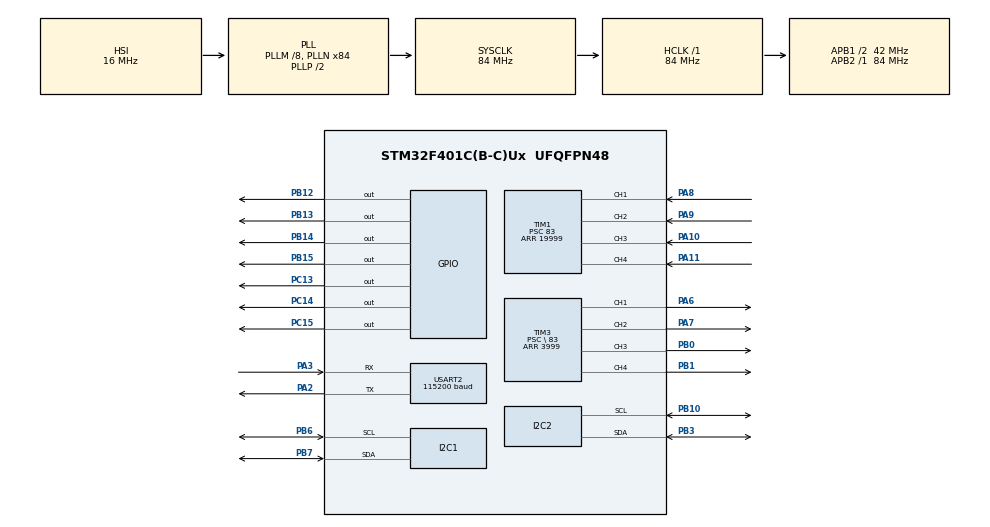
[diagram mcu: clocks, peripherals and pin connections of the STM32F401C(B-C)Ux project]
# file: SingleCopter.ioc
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I2C1.I2C_Mode=I2C_Fast
I2C2.I2C_Mode=I2C_Fast
Mcu.Family=STM32F4
Mcu.Name=STM32F401C(B-C)Ux
Mcu.Package=UFQFPN48
NVIC.PriorityGroup=NVIC_PRIORITYGROUP_4
NVIC.TIM1_CC_IRQn=true\:0\:0\:false\:false\:true\:true\:true\:true
NVIC.USART2_IRQn=true\:0\:0\:false\:false\:true\:true\:true\:true
PA10.Signal=S_TIM1_CH3
PA11.Signal=S_TIM1_CH4
PA13.Mode=Serial_Wire
PA13.Signal=SYS_JTMS-SWDIO
PA14.Mode=Serial_Wire
PA14.Signal=SYS_JTCK-SWCLK
PA2.Mode=Asynchronous
PA2.Signal=USART2_TX
PA3.Mode=Asynchronous
PA3.Signal=USART2_RX
PA6.Signal=S_TIM3_CH1
PA7.Signal=S_TIM3_CH2
PA8.Signal=S_TIM1_CH1
PA9.Signal=S_TIM1_CH2
PB0.Signal=S_TIM3_CH3
PB1.Signal=S_TIM3_CH4
PB10.Mode=I2C
PB10.Signal=I2C2_SCL
PB12.Signal=GPIO_Output
PB13.Signal=GPIO_Output
PB14.Signal=GPIO_Output
PB15.Signal=GPIO_Output
PB3.Mode=I2C
PB3.Signal=I2C2_SDA
PB6.Mode=I2C
PB6.Signal=I2C1_SCL
PB7.Mode=I2C
PB7.Signal=I2C1_SDA
PC13-ANTI_TAMP.Signal=GPIO_Output
PC14-OSC32_IN.Signal=GPIO_Output
PC15-OSC32_OUT.Signal=GPIO_Output
ProjectManager.HeapSize=0x200
ProjectManager.StackSize=0x400
ProjectManager.TargetToolchain=STM32CubeIDE
RCC.48MHZClocksFreq_Value=42000000
RCC.AHBFreq_Value=84000000
RCC.APB1CLKDivider=RCC_HCLK_DIV2
RCC.APB1Freq_Value=42000000
RCC.APB1TimFreq_Value=84000000
RCC.APB2Freq_Value=84000000
RCC.APB2TimFreq_Value=84000000
RCC.CortexFreq_Value=84000000
RCC.HCLKFreq_Value=84000000
RCC.HSE_VALUE=25000000
RCC.HSI_VALUE=16000000
RCC.LSE_VALUE=32768
RCC.PLLM=8
RCC.PLLN=84
RCC.SYSCLKFreq_VALUE=84000000
RCC.SYSCLKSource=RCC_SYSCLKSOURCE_PLLCLK
RCC.VCOOutputFreq_Value=168000000
SH.S_TIM1_CH1.0=TIM1_CH1,Input_Capture1_from_TI1
SH.S_TIM1_CH2.0=TIM1_CH2,Input_Capture2_from_TI2
SH.S_TIM1_CH3.0=TIM1_CH3,Input_Capture3_from_TI3
SH.S_TIM1_CH4.0=TIM1_CH4,Input_Capture4_from_TI4
SH.S_TIM3_CH1.0=TIM3_CH1,PWM Generation1 CH1
SH.S_TIM3_CH2.0=TIM3_CH2,PWM Generation2 CH2
SH.S_TIM3_CH3.0=TIM3_CH3,PWM Generation3 CH3
SH.S_TIM3_CH4.0=TIM3_CH4,PWM Generation4 CH4
TIM1.AutoReloadPreload=TIM_AUTORELOAD_PRELOAD_ENABLE
TIM1.Channel-Input_Capture1_from_TI1=TIM_CHANNEL_1
TIM1.Channel-Input_Capture2_from_TI2=TIM_CHANNEL_2
TIM1.Channel-Input_Capture3_from_TI3=TIM_CHANNEL_3
TIM1.Channel-Input_Capture4_from_TI4=TIM_CHANNEL_4
TIM1.ICFilter_CH1=0
TIM1.ICFilter_CH2=0
TIM1.ICFilter_CH3=1
TIM1.ICFilter_CH4=1
TIM1.ICPolarity_CH1=TIM_INPUTCHANNELPOLARITY_BOTHEDGE
TIM1.ICPolarity_CH2=TIM_INPUTCHANNELPOLARITY_BOTHEDGE
TIM1.ICPolarity_CH3=TIM_INPUTCHANNELPOLARITY_BOTHEDGE
TIM1.ICPolarity_CH4=TIM_INPUTCHANNELPOLARITY_BOTHEDGE
TIM1.Period=19999
TIM1.Prescaler=83
TIM3.AutoReloadPreload=TIM_AUTORELOAD_PRELOAD_ENABLE
TIM3.Channel-PWM\ Generation1\ CH1=TIM_CHANNEL_1
TIM3.Channel-PWM\ Generation2\ CH2=TIM_CHANNEL_2
TIM3.Channel-PWM\ Generation3\ CH3=TIM_CHANNEL_3
TIM3.Channel-PWM\ Generation4\ CH4=TIM_CHANNEL_4
TIM3.Period=3999 
TIM3.Prescaler=\ 83
USART2.BaudRate=115200
USART2.VirtualMode=VM_ASYNC
VP_TIM1_VS_ClockSourceINT.Mode=Internal
VP_TIM3_VS_ClockSourceINT.Mode=Internal
board=custom

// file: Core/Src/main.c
/* USER CODE BEGIN Header */
/**
  ******************************************************************************
  * @file           : main.c
  * @brief          : Main program body
  ******************************************************************************
  * @attention
  *
  * Copyright (c) 2024 STMicroelectronics.
  * All rights reserved.
  *
  * This software is licensed under terms that can be found in the LICENSE file
  * in the root directory of this software component.
  * If no LICENSE file comes with this software, it is provided AS-IS.
  *
  ******************************************************************************
  */
/* USER CODE END Header */
#include "main.h"

/* USER CODE BEGIN PTD */
#define sec2milliseconds(x) (x)*1000
/* USER CODE END PTD */

/* USER CODE BEGIN PD */

#define LSB_Sensitivity 131.0f // 65.5f	// Gyro degrees conversions
#define ALPHA 1.0  				// Gyro low pass filter (1.0 no filter, raw data)
#define GYRO_SING -1.0
// SAMPLE_TIME_S definido en PID/PID.h (compartido con usart.c)
/* Controller limits (PID_LIM_*) definidos en PID/PID.h, compartidos con usart.c */

#define MOTOR_TURN_OFF 1000
#define MOTOR_MAX_SPEED 2000
#define MOTOR_MIN_SPEED 1100

/* USER CODE END PD */

/* USER CODE BEGIN PM */
#define RADIO_MIDDLE_FREQ 1500.0f
#define RADIO_DEAD_BAND 5.0f

#define ARM_HOLD_MS         1000   // ms hay que sostener el gesto para armar/disarmar
#define ARM_THROTTLE_MAX    1050   // throttle abajo de esto cuenta como "low"
#define ARM_YAW_LEFT_MAX    1100   // yaw abajo de esto cuenta como "izquierda full"
#define ARM_YAW_RIGHT_MIN   1900   // yaw arriba de esto cuenta como "derecha full"

#define MAP(input, in_min, in_max, out_min, out_max) \
    (((input) - (in_min)) * ((out_max) - (out_min)) / ((in_max) - (in_min)) + (out_min))

#define M_PI 3.14159265358979323846
#define deg2rad(degrees) ((degrees) * (float)(M_PI / 180.0))
#define rad2deg(radians) ((radians) * (float)(180.0 / M_PI))

/* Protocolo UART (TRANSMITED_BYTES) definido en usart/usart.h
 * y compartido entre main.c y usart.c. */

/* USER CODE END PM */

I2C_HandleTypeDef hi2c1;
I2C_HandleTypeDef hi2c2;

TIM_HandleTypeDef htim1;
TIM_HandleTypeDef htim3;

UART_HandleTypeDef huart2;

/* USER CODE BEGIN PV */

uint8_t rx_buffer[TRANSMITED_BYTES];
float received_values[10]; // To store the result
int pid_update_ready=0;

extern float q0, q1, q2, q3;
extern float pitch, roll, yaw;
extern short gyro[3];
extern float gravity[3];
float gx, gy, gz;
float gx_angle, gy_angle, gz_angle;
float gyro_roll, gyro_pitch, gyro_yaw;
uint32_t loop_timer;
float yaw_offset, roll_offset, pitch_offset;
float yaw_w_offset, roll_w_offset, pitch_w_offset;
float gx_offset, gy_offset, gz_offset;
int read_dmp = -1;

int16_t gyro_axis[3];
float gx_2, gy_2, gz_2;
float gx_2_offset, gy_2_offset, gz_2_offset;

/* Measure Width */
extern volatile uint32_t pulse_ch1;
extern volatile uint32_t pulse_ch2;
extern volatile uint32_t pulse_ch3;
extern volatile uint32_t pulse_ch4;

PIDController pid_roll, pid_pitch, pid_yaw;

float setpoint_roll   = 0;
float setpoint_pitch  = 0;
float setpoint_yaw    = 0;
uint32_t measure_time = 0;

float pid_roll_output  = 0;
float pid_pitch_output = 0;
float pid_yaw_output   = 0;

float rate_roll = 0;
float rate_pitch = 0;
float rate_yaw = 0;

float throttle_radio = 0;
uint8_t start = 1;   // 0 = armed, 1 = disarmed (default disarmed)
static uint32_t arm_hold_start_ms = 0;
static uint32_t disarm_hold_start_ms = 0;
float motor_1;
float motor_2;
float motor_3;
float motor_4;

/* Peso del DMP en el filtro complementario gyro<->DMP.
 * gyro_angle = (1 - beta) * gyro_integrated + beta * dmp_angle.
 * Tuneable en vivo desde la GUI Python. Default = 0.04 (~125 ms time const). */
float comp_filter_beta = 0.04f;

BMP280_HandleTypedef bmp280;
QMC_t qmc;

float temperature;
float pressure, humidity;
float pressure_hPa = 0.0f;
float altitude = 0.0f; // Altitude in meters
float altitude_offset = 0.0f;

/* USER CODE END PV */

void SystemClock_Config(void);
static void MX_GPIO_Init(void);
static void MX_I2C1_Init(void);
static void MX_TIM3_Init(void);
static void MX_TIM1_Init(void);
static void MX_USART2_UART_Init(void);
static void MX_I2C2_Init(void);

int main(void)
{

  /* MCU Configuration--------------------------------------------------------*/

  /* Reset of all peripherals, Initializes the Flash interface and the Systick. */
  HAL_Init();

  /* Configure the system clock */
  SystemClock_Config();

  /* Initialize all configured peripherals */
  MX_GPIO_Init();
  MX_I2C1_Init();
  MX_TIM3_Init();
  MX_TIM1_Init();
  MX_USART2_UART_Init();
  MX_I2C2_Init();
  /* USER CODE BEGIN 2 */

  /*Initialize turn off motors */
  HAL_TIM_PWM_Start(&htim3, TIM_CHANNEL_1);  			/* Motor 1 */
  HAL_TIM_PWM_Start(&htim3, TIM_CHANNEL_2);  			/* Motor 2 */
  HAL_TIM_PWM_Start(&htim3, TIM_CHANNEL_3); 		 	/* Motor 3 */
  HAL_TIM_PWM_Start(&htim3, TIM_CHANNEL_4);  			/* Motor 4 */
  /*turn off motors and center servos */
  htim3.Instance->CCR1 = (uint32_t)MOTOR_TURN_OFF;      /*  Channel 1 Motor 1 */
  htim3.Instance->CCR2 = (uint32_t)MOTOR_TURN_OFF;      /*  Channel 2 Motor 2 */
  htim3.Instance->CCR3 = (uint32_t)MOTOR_TURN_OFF;      /*  Channel 3 Motor 3 */
  htim3.Instance->CCR4 = (uint32_t)MOTOR_TURN_OFF;      /*  Channel 4 Motor 4 */

  // turn off magnetometer
  HAL_GPIO_WritePin(GPIOB, GPIO_PIN_12, GPIO_PIN_RESET);
  // turn off barometer
  HAL_GPIO_WritePin(GPIOB, GPIO_PIN_13, GPIO_PIN_RESET);
  // Turn off IMU
  HAL_GPIO_WritePin(GPIOB, GPIO_PIN_14, GPIO_PIN_RESET);
  HAL_GPIO_WritePin(GPIOB, GPIO_PIN_15, GPIO_PIN_RESET);
  // Configuration with the led up
  HAL_GPIO_WritePin(GPIOC, GPIO_PIN_13, GPIO_PIN_RESET);
  HAL_GPIO_WritePin(GPIOC, GPIO_PIN_14, GPIO_PIN_RESET);
  HAL_GPIO_WritePin(GPIOC, GPIO_PIN_15, GPIO_PIN_RESET);

  HAL_UART_Receive_IT(&huart2, rx_buffer, TRANSMITED_BYTES);

  if (HAL_TIM_IC_Start_IT(&htim1, TIM_CHANNEL_1) != HAL_OK) // Throttle ---> radio ch1
  {
	 Error_Handler();
  }
  if (HAL_TIM_IC_Start_IT(&htim1, TIM_CHANNEL_2) != HAL_OK) //Yaw ---> radio ch2
  {
     Error_Handler();
  }

  if (HAL_TIM_IC_Start_IT(&htim1, TIM_CHANNEL_3) != HAL_OK) // Pitch --> radio ch3
  {
  	 Error_Handler();
  }
  if (HAL_TIM_IC_Start_IT(&htim1, TIM_CHANNEL_4) != HAL_OK) // Roll ---> radio ch4
  {
  	 Error_Handler();
  }

  HAL_Delay(250);

  while(pulse_ch1 < 950 || pulse_ch2 < 950 || pulse_ch3 < 950 || pulse_ch4 < 950)
  {
	  //__HAL_TIM_SET_COUNTER(&htim1, 0);  // reset the counter
	  pulse_ch1=pulse_ch2=pulse_ch3=pulse_ch4=0;
	  HAL_Delay(250);
  }

  while(pulse_ch1>2000 || pulse_ch2>2000 || pulse_ch3>2000 || pulse_ch4>2000)
  {
	  __HAL_TIM_SET_COUNTER(&htim1, 0);  // reset the counter
	  pulse_ch1=pulse_ch2=pulse_ch3=pulse_ch4=0;
	  HAL_Delay(250);
  }

  /* DMP MPU initialize */
  HAL_Delay(150);
  HAL_GPIO_WritePin(GPIOB, GPIO_PIN_14, GPIO_PIN_SET);
  HAL_Delay(150);

  do{
	  HAL_GPIO_WritePin(GPIOB, GPIO_PIN_14, GPIO_PIN_RESET);
	  HAL_Delay(150);
	  HAL_GPIO_WritePin(GPIOB, GPIO_PIN_14, GPIO_PIN_SET);
	  HAL_Delay(150);

  } while(MPU6050_getDeviceID() != 0x68);

  DMP_Init();
  HAL_Delay(10000); // Wait 10s for calibration, don't move the IMU!
  Calubration_DMP();
  HAL_Delay(10000);

  yaw_offset=roll_offset=pitch_offset=0;
  int var = 0;
  while(var < 2000) {
    read_dmp = Read_DMP();
  	if (read_dmp == 0){
	  roll_offset  += roll;
	  pitch_offset += pitch;
	  var++;
  	}
  }
  roll_offset  /=var;
  pitch_offset /=var;
  yaw_offset   /=var;
  // Now set the gyro
  HAL_Delay(100);
  do{
      HAL_GPIO_WritePin(GPIOB, GPIO_PIN_15, GPIO_PIN_RESET);
	  HAL_Delay(150);
	  HAL_GPIO_WritePin(GPIOB, GPIO_PIN_15, GPIO_PIN_SET);
      HAL_Delay(150);
  }while(init_gyro_registers() == -1);

  HAL_Delay(1000);
  gx_2_offset=gy_2_offset=gz_2_offset=0;
  for (int var = 0; var < 2000; ++var) {
	  read_gyro_only(gyro_axis);
	  gx_2_offset += (float)gyro_axis[0];
	  gy_2_offset += (float)gyro_axis[1];
	  gz_2_offset += (float)gyro_axis[2];
	  HAL_Delay(5);
  }
  gx_2_offset /=2000.0f;
  gy_2_offset /=2000.0f;
  gz_2_offset /=2000.0f;

  roll_w_offset=0;
  pitch_w_offset=0;

  var = 0;
  while(var < 2000) {
	read_dmp = Read_DMP();
	//QMC_read(&qmc);
	//yaw_w_offset +=  qmc.compas - yaw_offset;
	if (read_dmp == 0){
		roll_w_offset  += roll - roll_offset;
		pitch_w_offset += pitch - pitch_offset;
		var++;
	}
  }
  roll_w_offset  /=var;
  pitch_w_offset /=var;
  yaw_w_offset   /=var;

  if(fabs(roll_w_offset)>0.1 || fabs(pitch_w_offset)>0.1){
	  HAL_NVIC_SystemReset();
  }
  /* USER CODE END 2 */

  /* Infinite loop */
  /* USER CODE BEGIN WHILE */
  HAL_Delay(200);

  /* Starting gains para F450 / 1400kv / 10x4.7. Punto de partida conservador;
   * tunear en suelo atado, una ganancia a la vez, ~20% por iteración.
   *   Roll/Pitch: angle control. Kp lleva al setpoint, Kd amortigua.
   *   Yaw:        rate control (sin mag). Kp para tracking del stick (rate),
   *               Kd para damping. Ki=0 porque sin referencia absoluta
   *               la integral del error de rate solo introduce drift. */
  initializePID(&pid_roll,   6.0, 0.0, 3.0, SAMPLE_TIME_S,
                PID_LIM_MIN_INT_ROLL, PID_LIM_MAX_INT_ROLL,
                PID_LIM_MIN_ROLL, PID_LIM_MAX_ROLL);

  initializePID(&pid_pitch,  6.0, 0.0, 3.0, SAMPLE_TIME_S,
                PID_LIM_MIN_INT_PITCH, PID_LIM_MAX_INT_PITCH,
                PID_LIM_MIN_PITCH, PID_LIM_MAX_PITCH);

  initializePID(&pid_yaw,    3.0, 0.0, 8.0, SAMPLE_TIME_S,
                PID_LIM_MIN_INT_YAW, PID_LIM_MAX_INT_YAW,
                PID_LIM_MIN_YAW, PID_LIM_MAX_YAW);

  resetPID(&pid_pitch);
  resetPID(&pid_roll);
  resetPID(&pid_yaw);

  do {

	Read_DMP();
	HAL_Delay(200);

  } while (pulse_ch2 > 1100);

  gyro_roll=gyro_pitch=gyro_yaw=0.0f;
  rate_roll=rate_pitch=rate_yaw=0.0f;
  gx_2=gy_2=gz_2=0;
  start = 1;   // arrancar disarmed; gesto explícito requerido
  //HAL_GPIO_WritePin(GPIOC, GPIO_PIN_13, GPIO_PIN_SET);
  while (1)
  {
    /* USER CODE END WHILE */

    /* USER CODE BEGIN 3 */
	loop_timer = HAL_GetTick();

	read_dmp=Read_DMP();
	read_gyro_only(gyro_axis);
	roll_w_offset  = roll - roll_offset;
	pitch_w_offset = pitch - pitch_offset;

	gx_2 = ((float)gyro_axis[0] - gx_2_offset)  / LSB_Sensitivity;
	gy_2 = ((float)gyro_axis[1] - gy_2_offset)  / LSB_Sensitivity;
	gz_2 = ((float)gyro_axis[2] - gz_2_offset)  / LSB_Sensitivity;

	gyro_roll  += gx_2*SAMPLE_TIME_S;
	gyro_pitch += gy_2*SAMPLE_TIME_S;
	gyro_yaw   += gz_2*SAMPLE_TIME_S;

	//gyro_roll  += gyro_pitch * sin(deg2rad(gz_2) * SAMPLE_TIME_S);
	//gyro_pitch -= gyro_roll * sin(deg2rad(gz_2) * SAMPLE_TIME_S);
    const float dpsi = deg2rad(gz_2) * SAMPLE_TIME_S;   // ya es la rotación, en rad
    const float roll_prev  = gyro_roll;
    const float pitch_prev = gyro_pitch;

    gyro_roll  += pitch_prev * dpsi;
    gyro_pitch -= roll_prev  * dpsi;

	if (read_dmp==0){
		const float alpha = 1.0f - comp_filter_beta;
		gyro_pitch = gyro_pitch*alpha + pitch_w_offset*comp_filter_beta;
		gyro_roll  = gyro_roll *alpha + roll_w_offset *comp_filter_beta;
		//gyro_yaw = gyro_yaw*alpha + yaw_w_offset *comp_filter_beta;
	}

	//radio set-points
	throttle_radio = pulse_ch2;
	// yaw
	setpoint_yaw   = RADIO_MIDDLE_FREQ - (float)pulse_ch1;
	if (fabs(setpoint_yaw)< RADIO_DEAD_BAND){
		setpoint_yaw=0.0;
	}else{
		float s =  (setpoint_yaw > 0) ? 1.0 : -1.0;
		setpoint_yaw = MAP(setpoint_yaw - s*RADIO_DEAD_BAND, -500.0, +500.0,-60.0,60.0); // yaw 60
	}
	// roll
	setpoint_roll  = RADIO_MIDDLE_FREQ - (float)pulse_ch4;
	if (fabs(setpoint_roll)< RADIO_DEAD_BAND){
		setpoint_roll=0.0;
	} else{
		float s =  (setpoint_roll > 0) ? 1.0 : -1.0;
		setpoint_roll = MAP(setpoint_roll - s*RADIO_DEAD_BAND, -500.0, +500.0,-25.0,25.0);
	}
	// pitch
	setpoint_pitch = RADIO_MIDDLE_FREQ - (float)pulse_ch3;
	if (fabs(setpoint_pitch)< RADIO_DEAD_BAND){
		setpoint_pitch=0.0;
	} else{
		float s =  (setpoint_pitch > 0) ? 1.0 : -1.0;
		setpoint_pitch = -MAP(setpoint_pitch - s*RADIO_DEAD_BAND, -500.0, +500.0,+25.0,-25.0);
	}

	/* Radio failsafe: si no llegó un pulso válido en FAILSAFE_MS, forzar valores seguros.
	 * Throttle queda en MOTOR_TURN_OFF; con CLIP, los motores se mantienen a MOTOR_MIN_SPEED.
	 * Setpoints en 0 → PID intenta nivelar mientras el quad desciende.  */
	uint32_t failsafe_active = ((HAL_GetTick() - last_radio_update_ms) > FAILSAFE_MS);
	if (failsafe_active) {
		throttle_radio = MOTOR_TURN_OFF;
		setpoint_roll  = 0.0f;
		setpoint_pitch = 0.0f;
		setpoint_yaw   = 0.0f;
	}
	/* Arming/disarming via stick gesture (solo cuando hay radio activa).
	 *   Armar:    throttle low + yaw FULL DERECHA, sostenido ARM_HOLD_MS
	 *   Disarmar: throttle low + yaw FULL IZQUIERDA, sostenido ARM_HOLD_MS */
	if (!failsafe_active) {
		uint32_t now = HAL_GetTick();
		uint32_t throttle_low = (pulse_ch2 < ARM_THROTTLE_MAX);
		uint32_t yaw_left     = (pulse_ch1 < ARM_YAW_LEFT_MAX);
		uint32_t yaw_right    = (pulse_ch1 > ARM_YAW_RIGHT_MIN);

		if (start != 0) {
			// Disarmed → buscar gesto de arm
			if (throttle_low && yaw_right) {
				if (arm_hold_start_ms == 0) {
					arm_hold_start_ms = now;
				} else if ((now - arm_hold_start_ms) > ARM_HOLD_MS) {
					resetPID(&pid_roll);
					resetPID(&pid_pitch);
					resetPID(&pid_yaw);
					start = 0;   // Armed
				}
			} else {
				arm_hold_start_ms = 0;
			}
		} else {
			// Armed → buscar gesto de disarm
			if (throttle_low && yaw_left) {
				if (disarm_hold_start_ms == 0) {
					disarm_hold_start_ms = now;
				} else if ((now - disarm_hold_start_ms) > ARM_HOLD_MS) {
					start = 1;   // Disarmed
				}
			} else {
				disarm_hold_start_ms = 0;
			}
		}
	}

	if (start == 0)
	{
		// PID controller
		pid_roll_output  = updatePID(&pid_roll, setpoint_roll, gyro_roll, gx_2);
		pid_pitch_output = updatePID(&pid_pitch, setpoint_pitch, gyro_pitch, gy_2);
		pid_yaw_output   = updatePID(&pid_yaw, setpoint_yaw, gz_2, gz_2);

		/*                y
		 *                ^
		 * Motor 3 CCW    |    motor2  CW
 		 *          \     |     /
		 *   		 \    |    /
		 *		      \   |   /
		 *		   	      CM  ------>  x
		 *		       /      \
		 *		      /        \
		 *		     /          \
		 *   motor 4 CW 	motor 1 CCW
		 */

		motor_1 = CLIP(throttle_radio - pid_roll_output - pid_pitch_output - pid_yaw_output,
		               MOTOR_MIN_SPEED, MOTOR_MAX_SPEED);  // Front Right CCW
		motor_2 = CLIP(throttle_radio + pid_roll_output - pid_pitch_output + pid_yaw_output,
		               MOTOR_MIN_SPEED, MOTOR_MAX_SPEED);  // Front Left  CW
		motor_3 = CLIP(throttle_radio + pid_roll_output + pid_pitch_output - pid_yaw_output,
		               MOTOR_MIN_SPEED, MOTOR_MAX_SPEED);  // Rear Left   CCW
		motor_4 = CLIP(throttle_radio - pid_roll_output + pid_pitch_output + pid_yaw_output,
		               MOTOR_MIN_SPEED, MOTOR_MAX_SPEED);  // Rear Right  CW

		htim3.Instance->CCR1 = (uint32_t)motor_1; /*  Channel 1 Motor 1 */
		htim3.Instance->CCR2 = (uint32_t)motor_2; /*  Channel 2 Motor 2 */
		htim3.Instance->CCR3 = (uint32_t)motor_3; /*  Channel 3 Motor 3 */
		htim3.Instance->CCR4 = (uint32_t)motor_4; /*  Channel 4 Motor 4 */

	}
	else {
		resetPID(&pid_roll);
		resetPID(&pid_pitch);
		resetPID(&pid_yaw);
		// Disarmed: forzar motores a turn-off (no quedarse con el último CCR escrito)
		motor_1=motor_2=motor_3=motor_4=MOTOR_TURN_OFF;
		htim3.Instance->CCR1 = (uint32_t)MOTOR_TURN_OFF;
		htim3.Instance->CCR2 = (uint32_t)MOTOR_TURN_OFF;
		htim3.Instance->CCR3 = (uint32_t)MOTOR_TURN_OFF;
		htim3.Instance->CCR4 = (uint32_t)MOTOR_TURN_OFF;
	}
	//measure_time = HAL_GetTick() - loop_timer;
	while (HAL_GetTick() - loop_timer < sec2milliseconds(SAMPLE_TIME_S));
	measure_time = HAL_GetTick() - loop_timer;
  }
  /* USER CODE END 3 */
}

void SystemClock_Config(void)
{
  RCC_OscInitTypeDef RCC_OscInitStruct = {0};
  RCC_ClkInitTypeDef RCC_ClkInitStruct = {0};

  /** Configure the main internal regulator output voltage
  */
  __HAL_RCC_PWR_CLK_ENABLE();
  __HAL_PWR_VOLTAGESCALING_CONFIG(PWR_REGULATOR_VOLTAGE_SCALE2);

  /** Initializes the RCC Oscillators according to the specified parameters
  * in the RCC_OscInitTypeDef structure.
  */
  RCC_OscInitStruct.OscillatorType = RCC_OSCILLATORTYPE_HSI;
  RCC_OscInitStruct.HSIState = RCC_HSI_ON;
  RCC_OscInitStruct.HSICalibrationValue = RCC_HSICALIBRATION_DEFAULT;
  RCC_OscInitStruct.PLL.PLLState = RCC_PLL_ON;
  RCC_OscInitStruct.PLL.PLLSource = RCC_PLLSOURCE_HSI;
  RCC_OscInitStruct.PLL.PLLM = 8;
  RCC_OscInitStruct.PLL.PLLN = 84;
  RCC_OscInitStruct.PLL.PLLP = RCC_PLLP_DIV2;
  RCC_OscInitStruct.PLL.PLLQ = 4;
  if (HAL_RCC_OscConfig(&RCC_OscInitStruct) != HAL_OK)
  {
    Error_Handler();
  }

  /** Initializes the CPU, AHB and APB buses clocks
  */
  RCC_ClkInitStruct.ClockType = RCC_CLOCKTYPE_HCLK|RCC_CLOCKTYPE_SYSCLK
                              |RCC_CLOCKTYPE_PCLK1|RCC_CLOCKTYPE_PCLK2;
  RCC_ClkInitStruct.SYSCLKSource = RCC_SYSCLKSOURCE_PLLCLK;
  RCC_ClkInitStruct.AHBCLKDivider = RCC_SYSCLK_DIV1;
  RCC_ClkInitStruct.APB1CLKDivider = RCC_HCLK_DIV2;
  RCC_ClkInitStruct.APB2CLKDivider = RCC_HCLK_DIV1;

  if (HAL_RCC_ClockConfig(&RCC_ClkInitStruct, FLASH_LATENCY_2) != HAL_OK)
  {
    Error_Handler();
  }
}

static void MX_I2C1_Init(void)
{

  hi2c1.Instance = I2C1;
  hi2c1.Init.ClockSpeed = 400000;
  hi2c1.Init.DutyCycle = I2C_DUTYCYCLE_2;
  hi2c1.Init.OwnAddress1 = 0;
  hi2c1.Init.AddressingMode = I2C_ADDRESSINGMODE_7BIT;
  hi2c1.Init.DualAddressMode = I2C_DUALADDRESS_DISABLE;
  hi2c1.Init.OwnAddress2 = 0;
  hi2c1.Init.GeneralCallMode = I2C_GENERALCALL_DISABLE;
  hi2c1.Init.NoStretchMode = I2C_NOSTRETCH_DISABLE;
  if (HAL_I2C_Init(&hi2c1) != HAL_OK)
  {
    Error_Handler();
  }

}

static void MX_I2C2_Init(void)
{

  hi2c2.Instance = I2C2;
  hi2c2.Init.ClockSpeed = 400000;
  hi2c2.Init.DutyCycle = I2C_DUTYCYCLE_2;
  hi2c2.Init.OwnAddress1 = 0;
  hi2c2.Init.AddressingMode = I2C_ADDRESSINGMODE_7BIT;
  hi2c2.Init.DualAddressMode = I2C_DUALADDRESS_DISABLE;
  hi2c2.Init.OwnAddress2 = 0;
  hi2c2.Init.GeneralCallMode = I2C_GENERALCALL_DISABLE;
  hi2c2.Init.NoStretchMode = I2C_NOSTRETCH_DISABLE;
  if (HAL_I2C_Init(&hi2c2) != HAL_OK)
  {
    Error_Handler();
  }

}

static void MX_TIM1_Init(void)
{

  TIM_ClockConfigTypeDef sClockSourceConfig = {0};
  TIM_MasterConfigTypeDef sMasterConfig = {0};
  TIM_IC_InitTypeDef sConfigIC = {0};

  htim1.Instance = TIM1;
  htim1.Init.Prescaler = 83;
  htim1.Init.CounterMode = TIM_COUNTERMODE_UP;
  htim1.Init.Period = 19999;
  htim1.Init.ClockDivision = TIM_CLOCKDIVISION_DIV1;
  htim1.Init.RepetitionCounter = 0;
  htim1.Init.AutoReloadPreload = TIM_AUTORELOAD_PRELOAD_ENABLE;
  if (HAL_TIM_Base_Init(&htim1) != HAL_OK)
  {
    Error_Handler();
  }
  sClockSourceConfig.ClockSource = TIM_CLOCKSOURCE_INTERNAL;
  if (HAL_TIM_ConfigClockSource(&htim1, &sClockSourceConfig) != HAL_OK)
  {
    Error_Handler();
  }
  if (HAL_TIM_IC_Init(&htim1) != HAL_OK)
  {
    Error_Handler();
  }
  sMasterConfig.MasterOutputTrigger = TIM_TRGO_RESET;
  sMasterConfig.MasterSlaveMode = TIM_MASTERSLAVEMODE_DISABLE;
  if (HAL_TIMEx_MasterConfigSynchronization(&htim1, &sMasterConfig) != HAL_OK)
  {
    Error_Handler();
  }
  sConfigIC.ICPolarity = TIM_INPUTCHANNELPOLARITY_BOTHEDGE;
  sConfigIC.ICSelection = TIM_ICSELECTION_DIRECTTI;
  sConfigIC.ICPrescaler = TIM_ICPSC_DIV1;
  sConfigIC.ICFilter = 0;
  if (HAL_TIM_IC_ConfigChannel(&htim1, &sConfigIC, TIM_CHANNEL_1) != HAL_OK)
  {
    Error_Handler();
  }
  if (HAL_TIM_IC_ConfigChannel(&htim1, &sConfigIC, TIM_CHANNEL_2) != HAL_OK)
  {
    Error_Handler();
  }
  sConfigIC.ICFilter = 1;
  if (HAL_TIM_IC_ConfigChannel(&htim1, &sConfigIC, TIM_CHANNEL_3) != HAL_OK)
  {
    Error_Handler();
  }
  if (HAL_TIM_IC_ConfigChannel(&htim1, &sConfigIC, TIM_CHANNEL_4) != HAL_OK)
  {
    Error_Handler();
  }

}

static void MX_TIM3_Init(void)
{

  TIM_ClockConfigTypeDef sClockSourceConfig = {0};
  TIM_MasterConfigTypeDef sMasterConfig = {0};
  TIM_OC_InitTypeDef sConfigOC = {0};

  htim3.Instance = TIM3;
  htim3.Init.Prescaler = 83;
  htim3.Init.CounterMode = TIM_COUNTERMODE_UP;
  htim3.Init.Period = 3999 ;
  htim3.Init.ClockDivision = TIM_CLOCKDIVISION_DIV1;
  htim3.Init.AutoReloadPreload = TIM_AUTORELOAD_PRELOAD_ENABLE;
  if (HAL_TIM_Base_Init(&htim3) != HAL_OK)
  {
    Error_Handler();
  }
  sClockSourceConfig.ClockSource = TIM_CLOCKSOURCE_INTERNAL;
  if (HAL_TIM_ConfigClockSource(&htim3, &sClockSourceConfig) != HAL_OK)
  {
    Error_Handler();
  }
  if (HAL_TIM_PWM_Init(&htim3) != HAL_OK)
  {
    Error_Handler();
  }
  sMasterConfig.MasterOutputTrigger = TIM_TRGO_RESET;
  sMasterConfig.MasterSlaveMode = TIM_MASTERSLAVEMODE_DISABLE;
  if (HAL_TIMEx_MasterConfigSynchronization(&htim3, &sMasterConfig) != HAL_OK)
  {
    Error_Handler();
  }
  sConfigOC.OCMode = TIM_OCMODE_PWM1;
  sConfigOC.Pulse = 0;
  sConfigOC.OCPolarity = TIM_OCPOLARITY_HIGH;
  sConfigOC.OCFastMode = TIM_OCFAST_DISABLE;
  if (HAL_TIM_PWM_ConfigChannel(&htim3, &sConfigOC, TIM_CHANNEL_1) != HAL_OK)
  {
    Error_Handler();
  }
  if (HAL_TIM_PWM_ConfigChannel(&htim3, &sConfigOC, TIM_CHANNEL_2) != HAL_OK)
  {
    Error_Handler();
  }
  if (HAL_TIM_PWM_ConfigChannel(&htim3, &sConfigOC, TIM_CHANNEL_3) != HAL_OK)
  {
    Error_Handler();
  }
  if (HAL_TIM_PWM_ConfigChannel(&htim3, &sConfigOC, TIM_CHANNEL_4) != HAL_OK)
  {
    Error_Handler();
  }
  HAL_TIM_MspPostInit(&htim3);

}

static void MX_USART2_UART_Init(void)
{

  huart2.Instance = USART2;
  huart2.Init.BaudRate = 57600;   // Reducido desde 115200 por jitter de SoftwareSerial+WiFi del ESP8266
  huart2.Init.WordLength = UART_WORDLENGTH_8B;
  huart2.Init.StopBits = UART_STOPBITS_1;
  huart2.Init.Parity = UART_PARITY_NONE;
  huart2.Init.Mode = UART_MODE_TX_RX;
  huart2.Init.HwFlowCtl = UART_HWCONTROL_NONE;
  huart2.Init.OverSampling = UART_OVERSAMPLING_16;
  if (HAL_UART_Init(&huart2) != HAL_OK)
  {
    Error_Handler();
  }

}

static void MX_GPIO_Init(void)
{
  GPIO_InitTypeDef GPIO_InitStruct = {0};

  /* GPIO Ports Clock Enable */
  __HAL_RCC_GPIOC_CLK_ENABLE();
  __HAL_RCC_GPIOA_CLK_ENABLE();
  __HAL_RCC_GPIOB_CLK_ENABLE();

  /*Configure GPIO pin Output Level */
  HAL_GPIO_WritePin(GPIOC, GPIO_PIN_13|GPIO_PIN_14|GPIO_PIN_15, GPIO_PIN_RESET);

  /*Configure GPIO pin Output Level */
  HAL_GPIO_WritePin(GPIOB, GPIO_PIN_12|GPIO_PIN_13|GPIO_PIN_14|GPIO_PIN_15, GPIO_PIN_RESET);

  /*Configure GPIO pins : PC13 PC14 PC15 */
  GPIO_InitStruct.Pin = GPIO_PIN_13|GPIO_PIN_14|GPIO_PIN_15;
  GPIO_InitStruct.Mode = GPIO_MODE_OUTPUT_PP;
  GPIO_InitStruct.Pull = GPIO_NOPULL;
  GPIO_InitStruct.Speed = GPIO_SPEED_FREQ_LOW;
  HAL_GPIO_Init(GPIOC, &GPIO_InitStruct);

  /*Configure GPIO pins : PB12 PB13 PB14 PB15 */
  GPIO_InitStruct.Pin = GPIO_PIN_12|GPIO_PIN_13|GPIO_PIN_14|GPIO_PIN_15;
  GPIO_InitStruct.Mode = GPIO_MODE_OUTPUT_PP;
  GPIO_InitStruct.Pull = GPIO_NOPULL;
  GPIO_InitStruct.Speed = GPIO_SPEED_FREQ_LOW;
  HAL_GPIO_Init(GPIOB, &GPIO_InitStruct);

}

void Error_Handler(void)
{
  __disable_irq();
  while (1)
  {
  }
}
